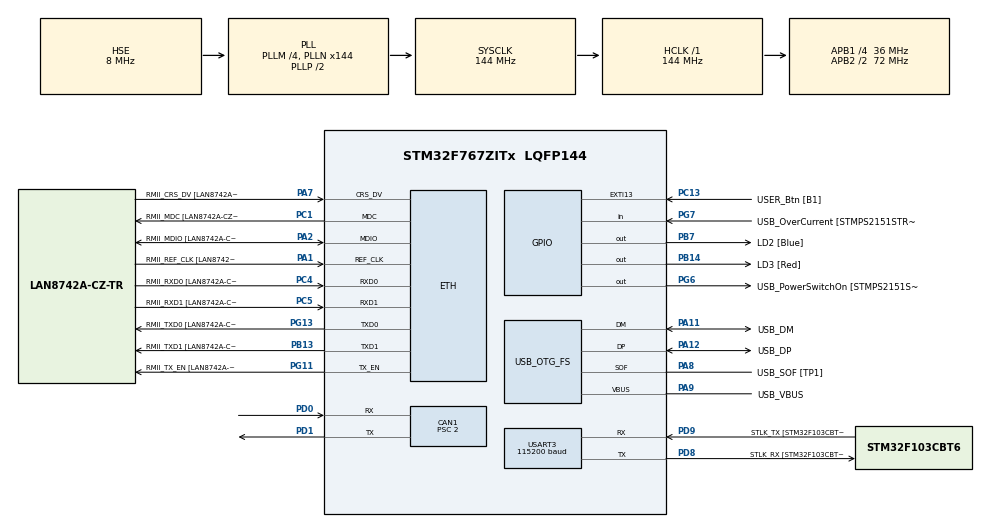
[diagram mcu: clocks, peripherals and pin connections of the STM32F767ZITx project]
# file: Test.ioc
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CAN1.BS1=CAN_BS1_10TQ
CAN1.BS2=CAN_BS2_8TQ
CAN1.CalculateTimeQuantum=55.55555555555556
CAN1.Prescaler=2
ETH.AutoNegotiation=ETH_AUTONEGOTIATION_DISABLE
ETH.ChecksumMode=ETH_CHECKSUM_BY_SOFTWARE
ETH.MediaInterface=ETH_MEDIA_INTERFACE_RMII
ETH.PHY_Name=LAN8742A_PHY_ADDRESS
ETH.PHY_Value=0
ETH.PhyAddress=0
Mcu.Family=STM32F7
Mcu.Name=STM32F767ZITx
Mcu.Package=LQFP144
NVIC.CAN1_RX0_IRQn=true\:0\:0\:false\:true\:true\:2\:true
NVIC.CAN1_RX1_IRQn=true\:0\:0\:false\:true\:true\:3\:true
NVIC.CAN1_TX_IRQn=true\:0\:0\:false\:true\:true\:1\:true
NVIC.ETH_IRQn=true\:0\:0\:false\:true\:true\:4\:true
NVIC.PriorityGroup=NVIC_PRIORITYGROUP_4
PA1.GPIO_Label=RMII_REF_CLK [LAN8742A-CZ-TR_REFCLK0]
PA1.Mode=RMII
PA1.Signal=ETH_REF_CLK
PA10.GPIO_Label=USB_ID
PA10.Signal=USB_OTG_FS_ID
PA11.GPIO_Label=USB_DM
PA11.Mode=Device_Only
PA11.Signal=USB_OTG_FS_DM
PA12.GPIO_Label=USB_DP
PA12.Mode=Device_Only
PA12.Signal=USB_OTG_FS_DP
PA13.GPIO_Label=TMS
PA13.Mode=Serial_Wire
PA13.Signal=SYS_JTMS-SWDIO
PA14.GPIO_Label=TCK
PA14.Mode=Serial_Wire
PA14.Signal=SYS_JTCK-SWCLK
PA2.GPIO_Label=RMII_MDIO [LAN8742A-CZ-TR_MDIO]
PA2.Mode=RMII
PA2.Signal=ETH_MDIO
PA7.GPIO_Label=RMII_CRS_DV [LAN8742A-CZ-TR_CRS_DV]
PA7.Mode=RMII
PA7.Signal=ETH_CRS_DV
PA8.GPIO_Label=USB_SOF [TP1]
PA8.Mode=Activate_SOF_FS
PA8.Signal=USB_OTG_FS_SOF
PA9.GPIO_Label=USB_VBUS
PA9.Mode=Activate_VBUS
PA9.Signal=USB_OTG_FS_VBUS
PB13.GPIO_Label=RMII_TXD1 [LAN8742A-CZ-TR_TXD1]
PB13.Mode=RMII
PB13.Signal=ETH_TXD1
PB14.GPIO_Label=LD3 [Red]
PB14.Signal=GPIO_Output
PB3.GPIO_Label=SWO
PB3.Signal=SYS_JTDO-SWO
PB7.GPIO_Label=LD2 [Blue]
PB7.Signal=GPIO_Output
PC1.GPIO_Label=RMII_MDC [LAN8742A-CZ-TR_MDC]
PC1.Mode=RMII
PC1.Signal=ETH_MDC
PC13.GPIO_Label=USER_Btn [B1]
PC13.Signal=GPXTI13
PC14/OSC32_IN.Mode=LSE-External-Oscillator
PC14/OSC32_IN.Signal=RCC_OSC32_IN
PC15/OSC32_OUT.Mode=LSE-External-Oscillator
PC15/OSC32_OUT.Signal=RCC_OSC32_OUT
PC4.GPIO_Label=RMII_RXD0 [LAN8742A-CZ-TR_RXD0]
PC4.Mode=RMII
PC4.Signal=ETH_RXD0
PC5.GPIO_Label=RMII_RXD1 [LAN8742A-CZ-TR_RXD1]
PC5.Mode=RMII
PC5.Signal=ETH_RXD1
PD0.Mode=Master
PD0.Signal=CAN1_RX
PD1.Mode=Master
PD1.Signal=CAN1_TX
PD8.GPIO_Label=STLK_RX [STM32F103CBT6_PA3]
PD8.Mode=Asynchronous
PD8.Signal=USART3_TX
PD9.GPIO_Label=STLK_TX [STM32F103CBT6_PA2]
PD9.Mode=Asynchronous
PD9.Signal=USART3_RX
PG11.GPIO_Label=RMII_TX_EN [LAN8742A-CZ-TR_TXEN]
PG11.Mode=RMII
PG11.Signal=ETH_TX_EN
PG13.GPIO_Label=RMII_TXD0 [LAN8742A-CZ-TR_TXD0]
PG13.Mode=RMII
PG13.Signal=ETH_TXD0
PG6.GPIO_Label=USB_PowerSwitchOn [STMPS2151STR_EN]
PG6.Signal=GPIO_Output
PG7.GPIO_Label=USB_OverCurrent [STMPS2151STR_FAULT]
PG7.Signal=GPIO_Input
PH0/OSC_IN.GPIO_Label=MCO [STM32F103CBT6_PA8]
PH0/OSC_IN.Mode=HSE-External-Clock-Source
PH0/OSC_IN.Signal=RCC_OSC_IN
PH1/OSC_OUT.Mode=HSE-External-Clock-Source
PH1/OSC_OUT.Signal=RCC_OSC_OUT
ProjectManager.HeapSize=0x200
ProjectManager.StackSize=0x400
ProjectManager.TargetToolchain=SW4STM32
RCC.48MHZClocksFreq_Value=24000000
RCC.AHBFreq_Value=144000000
RCC.APB1CLKDivider=RCC_HCLK_DIV4
RCC.APB1Freq_Value=36000000
RCC.APB1TimFreq_Value=72000000
RCC.APB2CLKDivider=RCC_HCLK_DIV2
RCC.APB2Freq_Value=72000000
RCC.APB2TimFreq_Value=144000000
RCC.CortexFreq_Value=144000000
RCC.HCLKFreq_Value=144000000
RCC.HSE_VALUE=8000000
RCC.HSI_VALUE=16000000
RCC.PLLM=4
RCC.PLLMUL=RCC_PLL_MUL9
RCC.PLLN=144
RCC.PLLQ=6
RCC.PRESCALERUSB=RCC_USBCLKSOURCE_PLL_DIV1_5
RCC.SYSCLKFreq_VALUE=144000000
RCC.SYSCLKSource=RCC_SYSCLKSOURCE_PLLCLK
RCC.SYSCLKSourceVirtual=RCC_SYSCLKSOURCE_PLLCLK
RCC.USBFreq_Value=48000000
RCC.VCOOutputFreq_Value=288000000
USART3.BaudRate=115200
USART3.VirtualMode-Asynchronous=VM_ASYNC
USART3.WordLength=WORDLENGTH_8B
USB_OTG_FS.VirtualMode=Device_Only
board=NUCLEO-F767ZI

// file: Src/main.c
/**
  ******************************************************************************
  * @file           : main.c
  * @brief          : Main program body
  ******************************************************************************
  ** This notice applies to any and all portions of this file
  * that are not between comment pairs USER CODE BEGIN and
  * USER CODE END. Other portions of this file, whether
  * inserted by the user or by software development tools
  * are owned by their respective copyright owners.
  *
  * COPYRIGHT(c) 2018 STMicroelectronics
  *
  * Redistribution and use in source and binary forms, with or without modification,
  * are permitted provided that the following conditions are met:
  *   1. Redistributions of source code must retain the above copyright notice,
  *      this list of conditions and the following disclaimer.
  *   2. Redistributions in binary form must reproduce the above copyright notice,
  *      this list of conditions and the following disclaimer in the documentation
  *      and/or other materials provided with the distribution.
  *   3. Neither the name of STMicroelectronics nor the names of its contributors
  *      may be used to endorse or promote products derived from this software
  *      without specific prior written permission.
  *
  * THIS SOFTWARE IS PROVIDED BY THE COPYRIGHT HOLDERS AND CONTRIBUTORS "AS IS"
  * AND ANY EXPRESS OR IMPLIED WARRANTIES, INCLUDING, BUT NOT LIMITED TO, THE
  * IMPLIED WARRANTIES OF MERCHANTABILITY AND FITNESS FOR A PARTICULAR PURPOSE ARE
  * DISCLAIMED. IN NO EVENT SHALL THE COPYRIGHT HOLDER OR CONTRIBUTORS BE LIABLE
  * FOR ANY DIRECT, INDIRECT, INCIDENTAL, SPECIAL, EXEMPLARY, OR CONSEQUENTIAL
  * DAMAGES (INCLUDING, BUT NOT LIMITED TO, PROCUREMENT OF SUBSTITUTE GOODS OR
  * SERVICES; LOSS OF USE, DATA, OR PROFITS; OR BUSINESS INTERRUPTION) HOWEVER
  * CAUSED AND ON ANY THEORY OF LIABILITY, WHETHER IN CONTRACT, STRICT LIABILITY,
  * OR TORT (INCLUDING NEGLIGENCE OR OTHERWISE) ARISING IN ANY WAY OUT OF THE USE
  * OF THIS SOFTWARE, EVEN IF ADVISED OF THE POSSIBILITY OF SUCH DAMAGE.
  *
  ******************************************************************************
  */
#include "main.h"
#include "stm32f7xx_hal.h"

/* USER CODE BEGIN Includes */
#include  <errno.h>
#include  <sys/unistd.h> // STDOUT_FILENO, STDERR_FILENO
#include  <stdlib.h>
#include  <stdio.h>

/* USER CODE END Includes */

CAN_HandleTypeDef hcan1;

ETH_HandleTypeDef heth;

UART_HandleTypeDef huart3;

PCD_HandleTypeDef hpcd_USB_OTG_FS;

/* USER CODE BEGIN PV */

ETH_DMADescTypeDef Tx_Desc[3]; 			//Ethernet virable
uint8_t Tx_buf[200] = {0};

uint32_t pTxMailbox ;
CAN_TxHeaderTypeDef  CAN_TX_pHeader;  	//CAN bus virable
CAN_RxHeaderTypeDef  CAN_RX_pHeader;
uint8_t CAN_RX_buffer[8];
uint8_t* CAN_TX_buffer;
CAN_FilterTypeDef FilterConfig;

uint16_t volatile Pedal_value;

/* Private variables ---------------------------------------------------------*/

/* USER CODE END PV */

void SystemClock_Config(void);
static void MX_GPIO_Init(void);
static void MX_USART3_UART_Init(void);
static void MX_USB_OTG_FS_PCD_Init(void);
static void MX_ETH_Init(void);
static void MX_CAN1_Init(void);
static void MX_NVIC_Init(void);

/* USER CODE BEGIN PFP */
/* Private function prototypes -----------------------------------------------*/
//int _write(int file, char *data, int len);
int _write(int file, char *ptr, int len);
void uint_32_To_string_hex(uint32_t ID);

/* USER CODE END PFP */

int main(void)
{

  /* MCU Configuration----------------------------------------------------------*/

  /* Reset of all peripherals, Initializes the Flash interface and the Systick. */
  HAL_Init();

  /* Configure the system clock */
  SystemClock_Config();

  /* Initialize all configured peripherals */
  MX_GPIO_Init();
  MX_USART3_UART_Init();
  MX_USB_OTG_FS_PCD_Init();
  MX_ETH_Init();
  MX_CAN1_Init();

  /* Initialize interrupts */
  MX_NVIC_Init();
  /* USER CODE BEGIN 2 */

  HAL_ETH_DMATxDescListInit(&heth,Tx_Desc,Tx_buf,1);

  HAL_ETH_Start(&heth);
  ITM_SendChar( 65 );   //  Send ASCII code 65 = ТAТ
  //Destination address
  Tx_buf[0] = 0xB8;
  Tx_buf[1] = 0x27;
  Tx_buf[2] = 0xEB;
  Tx_buf[3] = 0x77;
  Tx_buf[4] = 0xF9;
  Tx_buf[5] = 0xE1;

  //Source address
   Tx_buf[6]  = 0xC0;
   Tx_buf[7]  = 0x4A;
   Tx_buf[8]  = 0x00;
   Tx_buf[9]  = 0x21;
   Tx_buf[10] = 0xFE;
   Tx_buf[11] = 0xF3;

   //0x8000 Ethernet Configuration Testing Protocol

   Tx_buf[12] = 0x08;
   Tx_buf[13] = 0x00;//////

   Tx_buf[14] = 0x40 | 0x5;
   Tx_buf[15] = 0x00 | 0x0; // DSCP == 0 best effort ///

   {//Total length

	   uint16_t temp = 50;
	   Tx_buf[16] = (uint8_t)temp >> 8;
	   Tx_buf[17] = (uint8_t)temp;

   }
   Tx_buf[18] = 0x00; // identification
   Tx_buf[19] = 0x00;

   Tx_buf[20] = 0x40; // flag DF
   Tx_buf[21] = 0x00; // fregment offset

   Tx_buf[22] = 0xFF; // ttl
   Tx_buf[23] = 0x11; // protocol UDP 0x11

   Tx_buf[24] = 0x00; // header checksum
   Tx_buf[25] = 0x00; // header checksum

   Tx_buf[26] = 0x01; // source IP
   Tx_buf[27] = 0x02;
   Tx_buf[28] = 0x03;
   Tx_buf[29] = 0x04;

   Tx_buf[30] = 169; // destination IP
   Tx_buf[31] = 254;
   Tx_buf[32] = 104;
   Tx_buf[33] = 249;

//calculate checksum
{
uint16_t ans_checksum;
uint16_t arr[20];
uint32_t arr32 = 0;
uint32_t temp =  1;

	for(int i = 0 ; i < 10 ; i ++ ){
		arr[i] =  *((uint16_t*)(Tx_buf+14+i*2))<<8;
		arr[i] |=  *((uint16_t*)(Tx_buf+15+i*2)) & 0x00ff;
	}

	for(int i=0;i<10;i++)
		arr32 = arr32 + arr[i];

	while(temp)
	{
		temp = 0xf0000 & arr32;
		temp = temp >> 16;
		arr32 &= 0xffff;
		arr32 = arr32 + temp;
	}

	arr32 =~ arr32;

	ans_checksum = (uint16_t)arr32;

	Tx_buf[24] = (uint8_t)(ans_checksum >> 8);
	Tx_buf[25] = (uint8_t)ans_checksum;

}//end calculate checksum

//set the UDP header
{

	uint16_t source_port = 2501;
	uint16_t destination_port = 2500;
	uint16_t leangth = 30;

	Tx_buf[34] = (uint8_t)(source_port >> 8);
	Tx_buf[35] = (uint8_t)source_port;

	Tx_buf[36] = (uint8_t)(destination_port >> 8);
	Tx_buf[37] = (uint8_t)destination_port;

	Tx_buf[38] = (uint8_t)(leangth >> 8);
	Tx_buf[39] = (uint8_t)leangth;

	Tx_buf[40] = 0;
    Tx_buf[41] = 0;

}

   {
	   uint8_t ch[50] = "ELIK IS THE KING";

	   for(int i = 0;i<50 ; i++)
		   Tx_buf[42+i] =  ch[i];

   }
   printf("\r transmit 1\n");
  // heth.TxDesc= Tx_Desc;

  //heth.TxDesc = Tx_Desc;
  if(HAL_ETH_TransmitFrame(&heth,70)!= HAL_OK)
 	   _Error_Handler(__FILE__, __LINE__);

  	 // HAL_ETH_DMATxDescListInit(&heth,Tx_Desc,Tx_buf,1);

   //====  CAN bus =====//

   __HAL_CAN_ENABLE_IT(&hcan1,CAN_IT_TX_MAILBOX_EMPTY); //Enable CAN Tx interrupt
   __HAL_CAN_ENABLE_IT(&hcan1,CAN_IT_RX_FIFO0_MSG_PENDING);
   __HAL_CAN_ENABLE_IT(&hcan1,CAN_IT_RX_FIFO1_MSG_PENDING);

   FilterConfig.FilterIdHigh = 0xFFFFU;
   FilterConfig.FilterIdLow  = 0xFFFFU;
   FilterConfig.FilterMaskIdHigh = 0x0000U;
   FilterConfig.FilterMaskIdLow = 0x0000U;
   FilterConfig.FilterFIFOAssignment = CAN_FILTER_FIFO0;
   //FilterConfig.FilterNumber = 0;
   FilterConfig.FilterMode = CAN_FILTERMODE_IDMASK;
   FilterConfig.FilterScale = CAN_FILTERSCALE_32BIT;
   FilterConfig.FilterActivation  = ENABLE;
   FilterConfig.FilterBank = 0;

   HAL_CAN_ConfigFilter(&hcan1, &FilterConfig);
   HAL_CAN_Start(&hcan1);

   uint8_t aData[8] = "ELIK";
   CAN_TX_buffer = aData;
   CAN_TX_pHeader.StdId = 0x400;
   CAN_TX_pHeader.DLC = 8;
   CAN_TX_pHeader.RTR = 0;
   CAN_TX_pHeader.ExtId = 0;

	if( HAL_CAN_AddTxMessage(&hcan1, &CAN_TX_pHeader,CAN_TX_buffer, &pTxMailbox) != HAL_OK)
		_Error_Handler(__FILE__, __LINE__);

  /* USER CODE END 2 */

  /* Infinite loop */
  /* USER CODE BEGIN WHILE */
/*

*/
   printf("\r Main while \n");

  while (10)
  {

	  HAL_Delay(1);
	  printf("\r%u        ", (unsigned)Pedal_value);
  /* USER CODE END WHILE */

  }

}

void SystemClock_Config(void)
{

  RCC_OscInitTypeDef RCC_OscInitStruct;
  RCC_ClkInitTypeDef RCC_ClkInitStruct;
  RCC_PeriphCLKInitTypeDef PeriphClkInitStruct;

    /**Configure the main internal regulator output voltage
    */
  __HAL_RCC_PWR_CLK_ENABLE();

  __HAL_PWR_VOLTAGESCALING_CONFIG(PWR_REGULATOR_VOLTAGE_SCALE3);

    /**Initializes the CPU, AHB and APB busses clocks
    */
  RCC_OscInitStruct.OscillatorType = RCC_OSCILLATORTYPE_HSE;
  RCC_OscInitStruct.HSEState = RCC_HSE_BYPASS;
  RCC_OscInitStruct.PLL.PLLState = RCC_PLL_ON;
  RCC_OscInitStruct.PLL.PLLSource = RCC_PLLSOURCE_HSE;
  RCC_OscInitStruct.PLL.PLLM = 4;
  RCC_OscInitStruct.PLL.PLLN = 144;
  RCC_OscInitStruct.PLL.PLLP = RCC_PLLP_DIV2;
  RCC_OscInitStruct.PLL.PLLQ = 6;
  if (HAL_RCC_OscConfig(&RCC_OscInitStruct) != HAL_OK)
  {
    _Error_Handler(__FILE__, __LINE__);
  }

    /**Initializes the CPU, AHB and APB busses clocks
    */
  RCC_ClkInitStruct.ClockType = RCC_CLOCKTYPE_HCLK|RCC_CLOCKTYPE_SYSCLK
                              |RCC_CLOCKTYPE_PCLK1|RCC_CLOCKTYPE_PCLK2;
  RCC_ClkInitStruct.SYSCLKSource = RCC_SYSCLKSOURCE_PLLCLK;
  RCC_ClkInitStruct.AHBCLKDivider = RCC_SYSCLK_DIV1;
  RCC_ClkInitStruct.APB1CLKDivider = RCC_HCLK_DIV4;
  RCC_ClkInitStruct.APB2CLKDivider = RCC_HCLK_DIV2;

  if (HAL_RCC_ClockConfig(&RCC_ClkInitStruct, FLASH_LATENCY_4) != HAL_OK)
  {
    _Error_Handler(__FILE__, __LINE__);
  }

  PeriphClkInitStruct.PeriphClockSelection = RCC_PERIPHCLK_USART3|RCC_PERIPHCLK_CLK48;
  PeriphClkInitStruct.Usart3ClockSelection = RCC_USART3CLKSOURCE_PCLK1;
  PeriphClkInitStruct.Clk48ClockSelection = RCC_CLK48SOURCE_PLL;
  if (HAL_RCCEx_PeriphCLKConfig(&PeriphClkInitStruct) != HAL_OK)
  {
    _Error_Handler(__FILE__, __LINE__);
  }

    /**Configure the Systick interrupt time
    */
  HAL_SYSTICK_Config(HAL_RCC_GetHCLKFreq()/1000);

    /**Configure the Systick
    */
  HAL_SYSTICK_CLKSourceConfig(SYSTICK_CLKSOURCE_HCLK);

  /* SysTick_IRQn interrupt configuration */
  HAL_NVIC_SetPriority(SysTick_IRQn, 0, 0);
}

/**
  * @brief NVIC Configuration.
  * @retval None
  */
static void MX_NVIC_Init(void)
{
  /* CAN1_TX_IRQn interrupt configuration */
  HAL_NVIC_SetPriority(CAN1_TX_IRQn, 0, 0);
  HAL_NVIC_EnableIRQ(CAN1_TX_IRQn);
  /* CAN1_RX0_IRQn interrupt configuration */
  HAL_NVIC_SetPriority(CAN1_RX0_IRQn, 0, 0);
  HAL_NVIC_EnableIRQ(CAN1_RX0_IRQn);
  /* CAN1_RX1_IRQn interrupt configuration */
  HAL_NVIC_SetPriority(CAN1_RX1_IRQn, 0, 0);
  HAL_NVIC_EnableIRQ(CAN1_RX1_IRQn);
  /* ETH_IRQn interrupt configuration */
  HAL_NVIC_SetPriority(ETH_IRQn, 0, 0);
  HAL_NVIC_EnableIRQ(ETH_IRQn);
}

/* CAN1 init function */
static void MX_CAN1_Init(void)
{

  hcan1.Instance = CAN1;
  hcan1.Init.Prescaler = 2;
  hcan1.Init.Mode = CAN_MODE_NORMAL;
  hcan1.Init.SyncJumpWidth = CAN_SJW_1TQ;
  hcan1.Init.TimeSeg1 = CAN_BS1_10TQ;
  hcan1.Init.TimeSeg2 = CAN_BS2_8TQ;
  hcan1.Init.TimeTriggeredMode = DISABLE;
  hcan1.Init.AutoBusOff = DISABLE;
  hcan1.Init.AutoWakeUp = DISABLE;
  hcan1.Init.AutoRetransmission = DISABLE;
  hcan1.Init.ReceiveFifoLocked = DISABLE;
  hcan1.Init.TransmitFifoPriority = DISABLE;
  if (HAL_CAN_Init(&hcan1) != HAL_OK)
  {
    _Error_Handler(__FILE__, __LINE__);
  }

}

/* ETH init function */
static void MX_ETH_Init(void)
{

   uint8_t MACAddr[6] ;

  heth.Instance = ETH;
  heth.Init.AutoNegotiation = ETH_AUTONEGOTIATION_DISABLE;
  heth.Init.Speed = ETH_SPEED_100M;
  heth.Init.DuplexMode = ETH_MODE_FULLDUPLEX;
  heth.Init.PhyAddress = LAN8742A_PHY_ADDRESS;
  MACAddr[0] = 0x00;
  MACAddr[1] = 0x80;
  MACAddr[2] = 0xE1;
  MACAddr[3] = 0x00;
  MACAddr[4] = 0x00;
  MACAddr[5] = 0x00;
  heth.Init.MACAddr = &MACAddr[0];
  heth.Init.RxMode = ETH_RXPOLLING_MODE;
  heth.Init.ChecksumMode = ETH_CHECKSUM_BY_SOFTWARE;
  heth.Init.MediaInterface = ETH_MEDIA_INTERFACE_RMII;

  if (HAL_ETH_Init(&heth) != HAL_OK)
  {
    _Error_Handler(__FILE__, __LINE__);
  }

}

/* USART3 init function */
static void MX_USART3_UART_Init(void)
{

  huart3.Instance = USART3;
  huart3.Init.BaudRate = 115200;
  huart3.Init.WordLength = UART_WORDLENGTH_8B;
  huart3.Init.StopBits = UART_STOPBITS_1;
  huart3.Init.Parity = UART_PARITY_NONE;
  huart3.Init.Mode = UART_MODE_TX_RX;
  huart3.Init.HwFlowCtl = UART_HWCONTROL_NONE;
  huart3.Init.OverSampling = UART_OVERSAMPLING_16;
  huart3.Init.OneBitSampling = UART_ONE_BIT_SAMPLE_DISABLE;
  huart3.AdvancedInit.AdvFeatureInit = UART_ADVFEATURE_NO_INIT;
  if (HAL_UART_Init(&huart3) != HAL_OK)
  {
    _Error_Handler(__FILE__, __LINE__);
  }

}

/* USB_OTG_FS init function */
static void MX_USB_OTG_FS_PCD_Init(void)
{

  hpcd_USB_OTG_FS.Instance = USB_OTG_FS;
  hpcd_USB_OTG_FS.Init.dev_endpoints = 6;
  hpcd_USB_OTG_FS.Init.speed = PCD_SPEED_FULL;
  hpcd_USB_OTG_FS.Init.dma_enable = DISABLE;
  hpcd_USB_OTG_FS.Init.ep0_mps = DEP0CTL_MPS_64;
  hpcd_USB_OTG_FS.Init.phy_itface = PCD_PHY_EMBEDDED;
  hpcd_USB_OTG_FS.Init.Sof_enable = ENABLE;
  hpcd_USB_OTG_FS.Init.low_power_enable = DISABLE;
  hpcd_USB_OTG_FS.Init.lpm_enable = DISABLE;
  hpcd_USB_OTG_FS.Init.vbus_sensing_enable = ENABLE;
  hpcd_USB_OTG_FS.Init.use_dedicated_ep1 = DISABLE;
  if (HAL_PCD_Init(&hpcd_USB_OTG_FS) != HAL_OK)
  {
    _Error_Handler(__FILE__, __LINE__);
  }

}

/** Configure pins as
        * Analog
        * Input
        * Output
        * EVENT_OUT
        * EXTI
*/
static void MX_GPIO_Init(void)
{

  GPIO_InitTypeDef GPIO_InitStruct;

  /* GPIO Ports Clock Enable */
  __HAL_RCC_GPIOC_CLK_ENABLE();
  __HAL_RCC_GPIOH_CLK_ENABLE();
  __HAL_RCC_GPIOA_CLK_ENABLE();
  __HAL_RCC_GPIOB_CLK_ENABLE();
  __HAL_RCC_GPIOD_CLK_ENABLE();
  __HAL_RCC_GPIOG_CLK_ENABLE();

  /*Configure GPIO pin Output Level */
  HAL_GPIO_WritePin(GPIOB, LD3_Pin|LD2_Pin, GPIO_PIN_RESET);

  /*Configure GPIO pin Output Level */
  HAL_GPIO_WritePin(USB_PowerSwitchOn_GPIO_Port, USB_PowerSwitchOn_Pin, GPIO_PIN_RESET);

  /*Configure GPIO pin : USER_Btn_Pin */
  GPIO_InitStruct.Pin = USER_Btn_Pin;
  GPIO_InitStruct.Mode = GPIO_MODE_IT_RISING;
  GPIO_InitStruct.Pull = GPIO_NOPULL;
  HAL_GPIO_Init(USER_Btn_GPIO_Port, &GPIO_InitStruct);

  /*Configure GPIO pins : LD3_Pin LD2_Pin */
  GPIO_InitStruct.Pin = LD3_Pin|LD2_Pin;
  GPIO_InitStruct.Mode = GPIO_MODE_OUTPUT_PP;
  GPIO_InitStruct.Pull = GPIO_NOPULL;
  GPIO_InitStruct.Speed = GPIO_SPEED_FREQ_LOW;
  HAL_GPIO_Init(GPIOB, &GPIO_InitStruct);

  /*Configure GPIO pin : USB_PowerSwitchOn_Pin */
  GPIO_InitStruct.Pin = USB_PowerSwitchOn_Pin;
  GPIO_InitStruct.Mode = GPIO_MODE_OUTPUT_PP;
  GPIO_InitStruct.Pull = GPIO_NOPULL;
  GPIO_InitStruct.Speed = GPIO_SPEED_FREQ_LOW;
  HAL_GPIO_Init(USB_PowerSwitchOn_GPIO_Port, &GPIO_InitStruct);

  /*Configure GPIO pin : USB_OverCurrent_Pin */
  GPIO_InitStruct.Pin = USB_OverCurrent_Pin;
  GPIO_InitStruct.Mode = GPIO_MODE_INPUT;
  GPIO_InitStruct.Pull = GPIO_NOPULL;
  HAL_GPIO_Init(USB_OverCurrent_GPIO_Port, &GPIO_InitStruct);

}

/* USER CODE BEGIN 4 */

int _write(int file, char *data, int len)
{
      HAL_UART_Transmit(&huart3, (uint8_t*)data, len, 10);
      return len;
}

void uint_32_To_string_hex(uint32_t ID){

	uint8_t data[8];

	data[3] = 0xf & ID;
	data[2] = 0xff & (8 >> ID);
	data[1] = 0xff & (16 >> ID);
	data[0] = 0xff & (24 >> ID);
/*
	for(int i=0;i<4;i++){

		switch(data[i]){

		case

		}

	}
*/

	HAL_UART_Transmit(&huart3, (uint8_t*)data, 4, 10);

}

/*
int _write(int file, char *ptr, int len)
{
	int DataIdx;

	for (DataIdx = 0; DataIdx < len; DataIdx++)
	{
	   ITM_SendChar( *ptr++ );
	}

	return len;
}
*/

/* USER CODE END 4 */

void _Error_Handler(char *file, int line)
{
  /* USER CODE BEGIN Error_Handler_Debug */
  /* User can add his own implementation to report the HAL error return state */
	printf("\r failed to %s in line %d \n",file,line);
	return ;
  while(1)
  {
  }
  /* USER CODE END Error_Handler_Debug */
}

/************************ (C) COPYRIGHT STMicroelectronics *****END OF FILE****/
